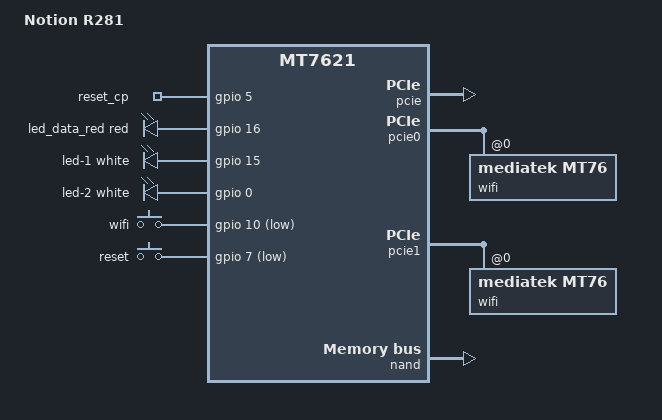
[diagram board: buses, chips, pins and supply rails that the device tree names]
// SPDX-License-Identifier: GPL-2.0-or-later

// Copyright (C) 2022, Ian Pangilinan <braveheart_leo@yahoo.com>
// Copyright (C) 2026, Devon Openheim <devopenm@proton.me>

#include "mt7621.dtsi"

#include <dt-bindings/gpio/gpio.h>
#include <dt-bindings/input/input.h>
#include <dt-bindings/leds/common.h>

/ {
	compatible = "notion,r281", "mediatek,mt7621-soc";
	model = "Notion R281";

	aliases {
		led-boot = &led_data_red;
		led-failsafe = &led_data_red;
		led-upgrade = &led_data_red;
		label-mac-device = &gmac0;
	};

	gpio-export {
		compatible = "gpio-export";
		#size-cells = <0>;

		/* exported to reset the Marvell PXA1826 WWAN modem */
		reset_cp {
			gpio-export,name = "reset_cp";
			gpio-export,output = <0>;
			gpios = <&gpio 5 GPIO_ACTIVE_HIGH>;
		};
	};

	leds {
		compatible = "gpio-leds";

		led_data_red: led-0 {
			color = <LED_COLOR_ID_RED>;
			function = "data";
			gpios = <&gpio 16 GPIO_ACTIVE_HIGH>;
		};

		led-1 {
			color = <LED_COLOR_ID_WHITE>;
			function = "data";
			gpios = <&gpio 15 GPIO_ACTIVE_HIGH>;
		};

		led-2 {
			color = <LED_COLOR_ID_WHITE>;
			function = LED_FUNCTION_WLAN;
			gpios = <&gpio 0 GPIO_ACTIVE_HIGH>;
			linux,default-trigger = "phy0tpt";
		};
	};

	keys {
		compatible = "gpio-keys";

		/* WPS button repurposed as Wi-Fi/rfkill toggle */
		key-wifi {
			label = "wifi";
			gpios = <&gpio 10 GPIO_ACTIVE_LOW>;
			linux,code = <KEY_RFKILL>;
		};

		key-reset {
			label = "reset";
			gpios = <&gpio 7 GPIO_ACTIVE_LOW>;
			linux,code = <KEY_RESTART>;
		};
	};
};

&state_default {
	gpio {
		groups = "jtag", "uart3";
		function = "gpio";
	};
};

&pcie {
	status = "okay";
};

&pcie0 {
	wifi@0,0 {
		compatible = "mediatek,mt76";
		reg = <0x0000 0 0 0 0>;
		nvmem-cells = <&eeprom_factory_0>, <&macaddr_factory_4>;
		nvmem-cell-names = "eeprom", "mac-address";
		ieee80211-freq-limit = <2400000 2500000>;
	};
};

&pcie1 {
	wifi@0,0 {
		compatible = "mediatek,mt76";
		reg = <0x0000 0 0 0 0>;
		nvmem-cells = <&eeprom_factory_8000>, <&macaddr_factory_8004>;
		nvmem-cell-names = "eeprom", "mac-address";
		ieee80211-freq-limit = <5000000 6000000>;
	};
};

&switch0 {
	ports {
		port@0 {
			status = "okay";
			label = "wan";
		};

		port@1 {
			status = "okay";
			label = "lan2";
		};

		port@2 {
			status = "okay";
			label = "lan3";
		};

		port@3 {
			status = "okay";
			label = "lan4";
		};
	};
};

&nand {
	status = "okay";

	partitions {
		compatible = "fixed-partitions";
		#address-cells = <1>;
		#size-cells = <1>;

		partition@0 {
			label = "u-boot";
			reg = <0x0 0x80000>;
			read-only;
		};

		partition@80000 {
			label = "u-boot-env";
			reg = <0x80000 0x20000>;
		};

		factory: partition@100000 {
			label = "factory";
			reg = <0x100000 0x40000>;
			read-only;

			nvmem-layout {
				compatible = "fixed-layout";
				#address-cells = <1>;
				#size-cells = <1>;

				eeprom_factory_0: eeprom@0 {
					reg = <0x0 0x400>;
				};

				eeprom_factory_8000: eeprom@8000 {
					reg = <0x8000 0x4da8>;
				};

				macaddr_factory_4: macaddr@4 {
					reg = <0x4 0x6>;
				};

				macaddr_factory_8004: macaddr@8004 {
					reg = <0x8004 0x6>;
				};
			};
		};

		partition@140000 {
			label = "kernel";
			reg = <0x140000 0x400000>;
		};

		partition@540000 {
			label = "ubi";
			reg = <0x540000 0x79c0000>;
		};

		partition@7f00000 {
			label = "configbak";
			reg = <0x7f00000 0x80000>;
			read-only;
		};
	};
};

&gmac0 {
	nvmem-cells = <&macaddr_factory_4>;
	nvmem-cell-names = "mac-address";
	mac-address-increment = <1>;
};
